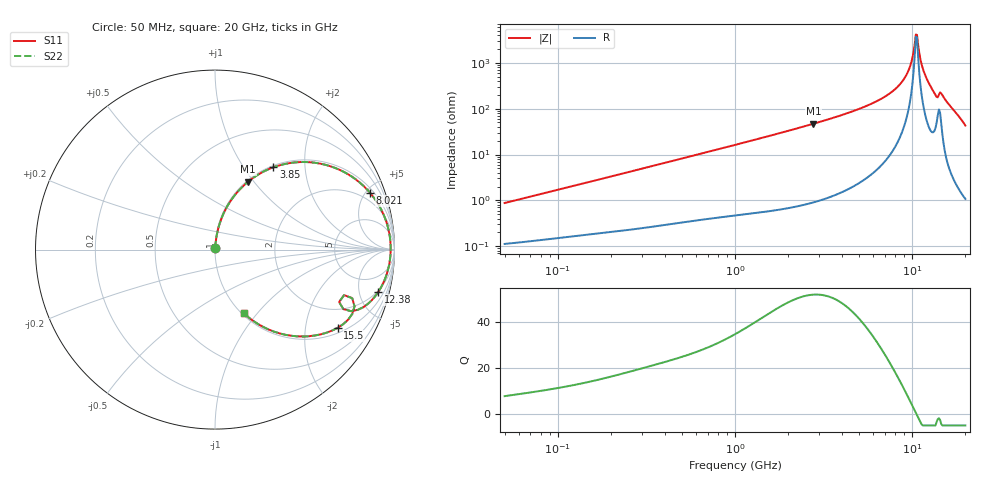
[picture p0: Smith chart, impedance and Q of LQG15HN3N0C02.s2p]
!Murata Part Number: LQG15HN3N0C02
!These Parameters are Measured in Series Mode Connection
!  o--[Z]--o
!Port1  Port2
!  o-------o
!Freq. Start=50[MHz] Stop=20[GHz], 401[Steps]
# Hz S RI R 50
!Freq.(Hz) S11(Real) S11(Imag) S21(Real) S21(Imag) S12(Real) S12(Imag) S22(Real) S22(Imag)
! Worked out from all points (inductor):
!   401 points, 50 MHz to 20 GHz, reference 50 ohm
!   read as one part in series: L = 2.74 nH near 51.52 MHz
!   highest Q = 51.9 at 2.769 GHz (marker M1), where L = 2.69 nH
!   self-resonance near 10.5 GHz
!   S11 on the Smith chart (normalised r, x): 50 MHz: 1.00, +0.02; 3.85 GHz: 1.03, +1.38; 8.021 GHz: 1.29, +5.32; 12.38 GHz: 1.82, -7.38; 15.5 GHz: 1.18, -3.01; 20 GHz: 1.02, -0.85
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5e7  0.00119 0.00866  0.9988 -0.00866  0.9988 -0.00866  0.00119 0.00866
1.364002e8  0.00224 0.0228  0.9978 -0.0228  0.9978 -0.0228  0.00224 0.0228
3.721004e8  0.00644 0.0604  0.9936 -0.0604  0.9936 -0.0604  0.00644 0.0604
1e9  0.0298 0.1562  0.9702 -0.1562  0.9702 -0.1562  0.0298 0.1562
2.728004e9  0.1793 0.3741  0.8207 -0.3741  0.8207 -0.3741  0.1793 0.3741
2.769174e9  0.1842 0.3781  0.8158 -0.3781  0.8158 -0.3781  0.1842 0.3781
3.850025e9  0.3253 0.4584  0.6747 -0.4584  0.6747 -0.4584  0.3253 0.4584
5.598765e9  0.5767 0.4808  0.4233 -0.4808  0.4233 -0.4808  0.5767 0.4808
7.442007e9  0.8076 0.3727  0.1924 -0.3727  0.1924 -0.3727  0.8076 0.3727
8.020766e9  0.8635 0.3169  0.1365 -0.3169  0.1365 -0.3169  0.8635 0.3169
9.457416e9  0.9567 0.1483  0.0433 -0.1483  0.0433 -0.1483  0.9567 0.1483
9.892087e9  0.9708 0.0918  0.0292 -0.0918  0.0292 -0.0918  0.9708 0.0918
1.034674e10  0.9781 0.0312  0.0219 -0.0312  0.0219 -0.0312  0.9781 0.0312
1.050288e10  0.9788 0.0102  0.0212 -0.0102  0.0212 -0.0102  0.9788 0.0102
1.082228e10  0.9773 -0.0328  0.0227 0.0328  0.0227 0.0328  0.9773 -0.0328
1.149051e10  0.9612 -0.1222  0.0388 0.1222  0.0388 0.1222  0.9612 -0.1222
1.238412e10  0.9095 -0.2364  0.0905 0.2364  0.0905 0.2364  0.9095 -0.2364
1.334722e10  0.7951 -0.3359  0.2049 0.3359  0.2049 0.3359  0.7951 -0.3359
1.438523e10  0.7647 -0.2706  0.2353 0.2706  0.2353 0.2706  0.7647 -0.2706
1.550395e10  0.6839 -0.4354  0.3161 0.4354  0.3161 0.4354  0.6839 -0.4354
1.747767e10  0.426 -0.4803  0.574 0.4803  0.574 0.4803  0.426 -0.4803
2e10  0.1601 -0.3543  0.8399 0.3543  0.8399 0.3543  0.1601 -0.3543
